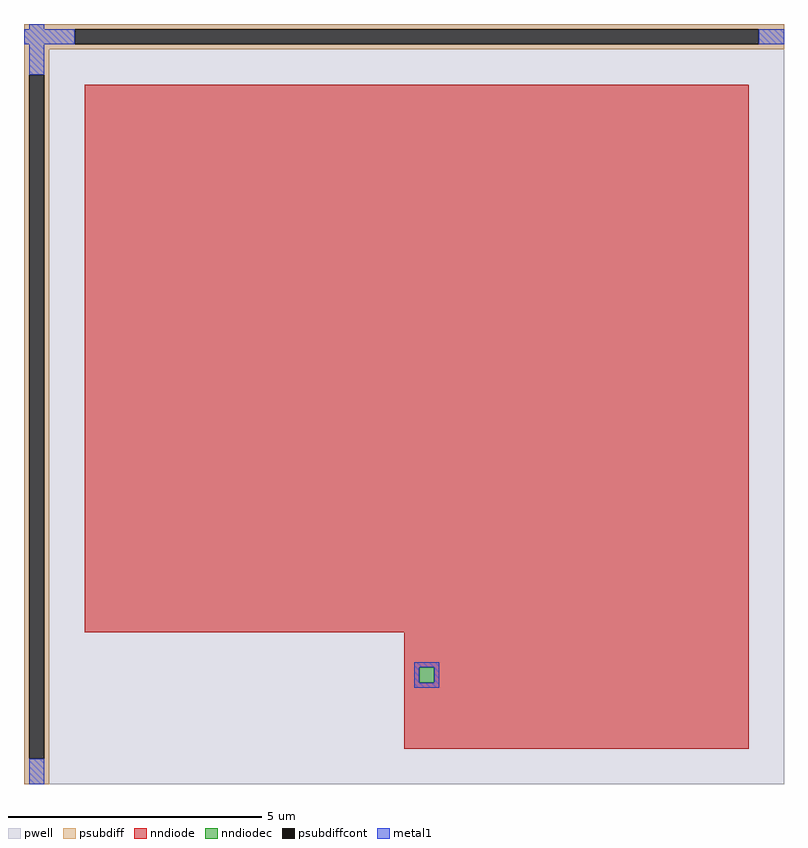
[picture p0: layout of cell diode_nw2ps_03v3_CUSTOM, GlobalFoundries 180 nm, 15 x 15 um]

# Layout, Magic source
magic
tech gf180mcuD
<< pwell >>
rect -140 -180 160 120
<< psubdiff >>
rect -140 118 160 120
rect -140 112 -120 118
rect 150 112 160 118
rect -140 110 160 112
rect -140 100 -130 110
rect -140 -170 -138 100
rect -132 -170 -130 100
rect -140 -180 -130 -170
<< psubdiffcont >>
rect -120 112 150 118
rect -138 -170 -132 100
<< nndiode >>
rect -116 -120 146 96
rect 10 -134 146 -120
rect 10 -140 16 -134
rect 22 -140 146 -134
rect 10 -166 146 -140
<< nndiodec >>
rect 16 -140 22 -134
<< metal1 >>
rect -138 118 -132 120
rect -140 112 -120 118
rect 150 112 160 118
rect -138 100 -132 112
rect 14 -134 24 -132
rect 14 -140 16 -134
rect 22 -140 24 -134
rect 14 -142 24 -140
rect -138 -180 -132 -170
<< properties >>
string FIXED_BBOX -140 -180 160 120
string gencell diode_nw2ps_03v3
string library gf180mcu
string parameters w 13.1 l 13.1 area 157.1 peri 52.4 nx 1 ny 1 dummy 0 lmin 0.45 wmin 0.45 class diode elc 1 erc 1 etc 1 ebc 0 doverlap 0 full_metal 0 compatible {diode_nw2ps_03v3 diode_nw2ps_06v0}
<< end >>
